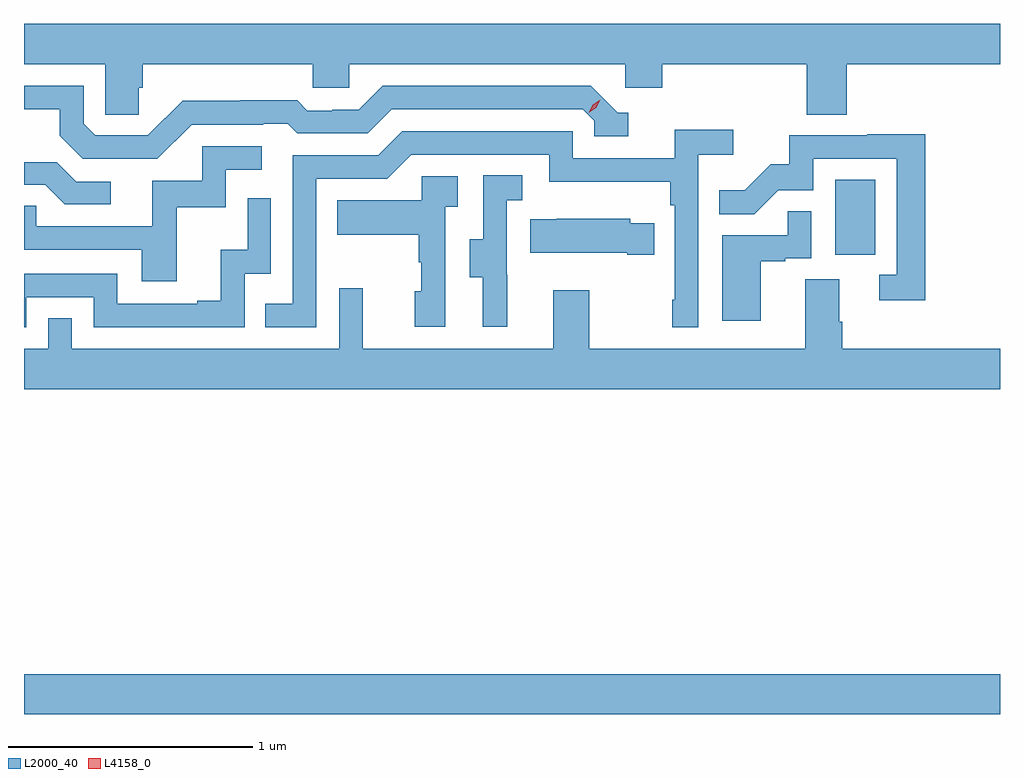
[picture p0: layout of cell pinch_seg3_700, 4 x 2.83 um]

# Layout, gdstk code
import gdstk
lib = gdstk.Library(unit=1e-6, precision=1e-09)
def R(c, l, rs):  # rectangles x0, y0, x1, y1
    for r in rs: c.add(gdstk.rectangle(r[:2], r[2:], *l))
def P(c, l, *ps):  # polygons
    for p in ps: c.add(gdstk.Polygon(p, *l))
L2000_40 = (2000, 40)
L4158_0 = (4158, 0)

pinch_seg3_700 = lib.new_cell('pinch_seg3_700')
R(pinch_seg3_700, L2000_40, [(1092.44,676.94,1096.44,677.104), (1095.764,678.822,1095.928,679.129)])
P(pinch_seg3_700, L2000_40, [(1092.911,679.506),(1092.926,679.506),(1092.926,679.604),(1093.623,679.604),(1093.623,679.506),(1093.773,679.506),(1093.773,679.604),(1094.904,679.604),(1094.904,679.506),(1095.056,679.506),(1095.056,679.604),(1095.647,679.604),(1095.647,679.396),(1095.812,679.396),(1095.812,679.604),(1096.44,679.604),(1096.44,679.768),(1092.44,679.768),(1092.44,679.604),(1092.774,679.604),(1092.774,679.396),(1092.911,679.396)],
  [(1093.128,679.356),(1093.421,679.356),(1093.421,679.359),(1093.52,679.359),(1093.559,679.32),(1093.848,679.32),(1093.947,679.419),(1094.73,679.419),(1094.778,679.371),(1094.778,679.308),(1094.917,679.308),(1094.917,679.404),(1094.874,679.404),(1094.763,679.515),(1093.91,679.515),(1093.811,679.416),(1093.704,679.416),(1093.704,679.413),(1093.601,679.413),(1093.559,679.456),(1093.326,679.456),(1093.326,679.453),(1093.09,679.453),(1092.948,679.311),(1092.732,679.311),(1092.684,679.359),(1092.684,679.515),(1092.44,679.515),(1092.44,679.419),(1092.587,679.419),(1092.587,679.309),(1092.681,679.215),(1092.987,679.215)],
  [(1093.638,679.134),(1093.929,679.134),(1094.028,679.233),(1094.592,679.233),(1094.592,679.121),(1095.088,679.121),(1095.088,679.025),(1095.108,679.025),(1095.108,678.637),(1095.096,678.637),(1095.096,678.525),(1095.204,678.525),(1095.204,679.232),(1095.346,679.232),(1095.346,679.334),(1095.107,679.334),(1095.107,679.218),(1094.688,679.218),(1094.688,679.329),(1093.991,679.329),(1093.892,679.23),(1093.542,679.23),(1093.542,678.621),(1093.429,678.621),(1093.429,678.525),(1093.638,678.525)],
  [(1096.133,679.316),(1095.895,679.316),(1095.895,679.311),(1095.577,679.311),(1095.577,679.194),(1095.5,679.194),(1095.393,679.087),(1095.289,679.087),(1095.289,678.988),(1095.433,678.988),(1095.531,679.086),(1095.675,679.086),(1095.675,679.215),(1096.017,679.215),(1096.017,678.741),(1095.945,678.741),(1095.945,678.636),(1096.133,678.636)],
  [(1093.067,679.017),(1093.266,679.017),(1093.266,679.17),(1093.414,679.17),(1093.414,679.266),(1093.17,679.266),(1093.17,679.125),(1092.965,679.125),(1092.965,678.939),(1092.491,678.939),(1092.491,679.023),(1092.44,679.023),(1092.44,678.843),(1092.923,678.843),(1092.923,678.714),(1093.067,678.714)],
  [(1092.796,679.122),(1092.654,679.122),(1092.574,679.202),(1092.44,679.202),(1092.44,679.11),(1092.527,679.11),(1092.608,679.029),(1092.796,679.029)],
  [(1094.42,678.741),(1094.418,678.741),(1094.418,679.045),(1094.482,679.045),(1094.482,679.148),(1094.322,679.148),(1094.322,678.885),(1094.267,678.885),(1094.267,678.73),(1094.321,678.73),(1094.321,678.528),(1094.42,678.528)],
  [(1094.166,679.019),(1094.218,679.019),(1094.218,679.143),(1094.07,679.143),(1094.07,679.045),(1093.723,679.045),(1093.723,678.905),(1094.058,678.905),(1094.058,678.791),(1094.068,678.791),(1094.068,678.672),(1094.042,678.672),(1094.042,678.528),(1094.166,678.528)],
  [(1092.45,678.648),(1092.726,678.648),(1092.726,678.525),(1093.344,678.525),(1093.344,678.744),(1093.452,678.744),(1093.452,679.054),(1093.356,679.054),(1093.356,678.842),(1093.247,678.842),(1093.247,678.634),(1093.151,678.634),(1093.151,678.621),(1092.822,678.621),(1092.822,678.744),(1092.44,678.744),(1092.44,678.525),(1092.45,678.525)],
  [(1095.46,678.795),(1095.56,678.795),(1095.56,678.807),(1095.666,678.807),(1095.666,679.001),(1095.571,679.001),(1095.571,678.903),(1095.302,678.903),(1095.302,678.552),(1095.46,678.552)],
  [(1095.023,678.952),(1094.925,678.952),(1094.925,678.97),(1094.623,678.97),(1094.623,678.967),(1094.515,678.967),(1094.515,678.83),(1094.912,678.83),(1094.912,678.823),(1095.023,678.823)],
  [(1096.44,678.436),(1095.794,678.436),(1095.794,678.548),(1095.781,678.548),(1095.781,678.722),(1095.641,678.722),(1095.641,678.436),(1094.757,678.436),(1094.757,678.676),(1094.609,678.676),(1094.609,678.436),(1093.829,678.436),(1093.829,678.685),(1093.731,678.685),(1093.731,678.436),(1092.636,678.436),(1092.636,678.563),(1092.54,678.563),(1092.54,678.436),(1092.44,678.436),(1092.44,678.272),(1096.44,678.272)])
P(pinch_seg3_700, L4158_0, [(1094.754,679.405),(1094.754,679.405),(1094.77,679.438),(1094.801,679.457),(1094.801,679.457),(1094.801,679.457),(1094.785,679.424),(1094.754,679.405)])

lib.write_gds('pinch_seg3_700.gds')
